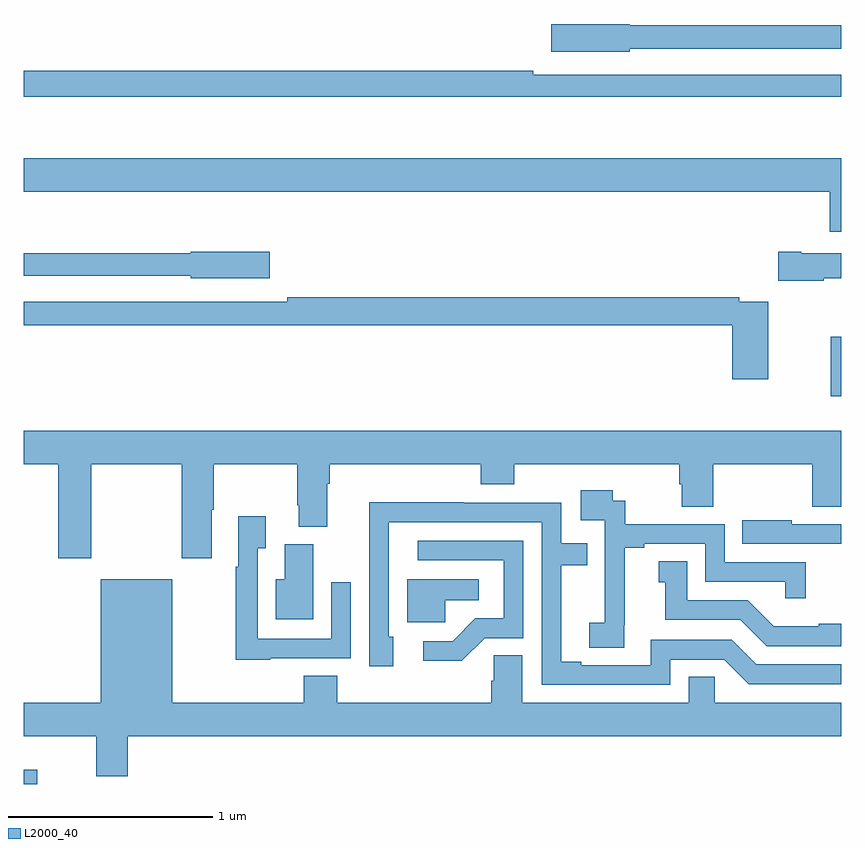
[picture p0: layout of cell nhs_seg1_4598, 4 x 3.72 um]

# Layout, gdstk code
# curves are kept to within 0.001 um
import gdstk
lib = gdstk.Library(unit=1e-6, precision=1e-09)
def R(c, l, rs):  # rectangles x0, y0, x1, y1
    for r in rs: c.add(gdstk.rectangle(r[:2], r[2:], *l))
def P(c, l, *ps):  # polygons
    for p in ps: c.add(gdstk.Polygon(p, *l))
L2000_40 = (2000, 40)

nhs_seg1_4598 = lib.new_cell('nhs_seg1_4598')
R(nhs_seg1_4598, L2000_40, [(361,518.199,361.066,518.269), (364.948,520.097,365,520.387)])
P(nhs_seg1_4598, L2000_40, [(363.966,521.796),(365,521.796),(365,521.912),(363.966,521.912),(363.966,521.918),(363.582,521.918),(363.582,521.783),(363.966,521.783)],
  [(365,521.67),(363.494,521.67),(363.494,521.69),(361,521.69),(361,521.562),(365,521.562)],
  [(365,521.26),(361,521.26),(361,521.096),(364.943,521.096),(364.943,520.902),(365,520.902)],
  [(364.914,520.673),(365,520.673),(365,520.795),(364.804,520.795),(364.804,520.803),(364.692,520.803),(364.692,520.661),(364.914,520.661)],
  [(362.203,520.803),(361.818,520.803),(361.818,520.795),(361,520.795),(361,520.686),(361.818,520.686),(361.818,520.673),(362.203,520.673)],
  [(364.644,520.56),(364.502,520.56),(364.502,520.58),(362.29,520.58),(362.29,520.56),(361,520.56),(361,520.444),(364.466,520.444),(364.466,520.179),(364.644,520.179)],
  [(361.329,519.764),(361.774,519.764),(361.774,519.303),(361.921,519.303),(361.921,519.542),(361.929,519.542),(361.929,519.764),(362.338,519.764),(362.338,519.562),(362.345,519.562),(362.345,519.457),(362.485,519.457),(362.485,519.668),(362.498,519.668),(362.498,519.764),(363.236,519.764),(363.236,519.665),(363.401,519.665),(363.401,519.764),(364.208,519.764),(364.208,519.666),(364.22,519.666),(364.22,519.556),(364.373,519.556),(364.373,519.764),(364.859,519.764),(364.859,519.556),(365,519.556),(365,519.928),(361,519.928),(361,519.764),(361.169,519.764),(361.169,519.303),(361.329,519.303)],
  [(363.938,518.977),(363.94,518.977),(363.94,519.355),(364.036,519.355),(364.036,519.375),(364.335,519.375),(364.335,519.189),(364.725,519.189),(364.725,519.108),(364.826,519.108),(364.826,519.285),(364.431,519.285),(364.431,519.471),(363.944,519.471),(363.944,519.585),(363.882,519.585),(363.882,519.637),(363.726,519.637),(363.726,519.489),(363.843,519.489),(363.843,519.185),(363.842,519.185),(363.842,518.988),(363.768,518.988),(363.768,518.866),(363.938,518.866)],
  [(364.164,518.808),(364.428,518.808),(364.548,518.688),(365,518.688),(365,518.784),(364.584,518.784),(364.464,518.904),(364.068,518.904),(364.068,518.781),(363.727,518.781),(363.727,518.796),(363.631,518.796),(363.631,519.27),(363.758,519.27),(363.758,519.378),(363.63,519.378),(363.63,519.576),(363.152,519.576),(363.152,519.578),(362.69,519.578),(362.691,518.775),(362.809,518.775),(362.809,518.919),(362.787,518.919),(362.787,519.48),(363.534,519.48),(363.534,518.685),(364.164,518.685)],
  [(362.205,518.814),(362.601,518.814),(362.601,519.187),(362.505,519.187),(362.505,518.91),(362.145,518.91),(362.145,519.352),(362.185,519.352),(362.185,519.508),(362.049,519.508),(362.049,519.263),(362.037,519.263),(362.037,518.807),(362.205,518.807)],
  [(365,519.471),(364.759,519.471),(364.759,519.49),(364.516,519.49),(364.516,519.375),(365,519.375)],
  [(363.255,518.913),(363.444,518.913),(363.444,519.39),(362.928,519.39),(362.928,519.294),(363.348,519.294),(363.348,519.009),(363.21,519.009),(363.099,518.898),(362.955,518.898),(362.955,518.801),(363.142,518.801)],
  [(362.416,519.371),(362.276,519.371),(362.276,519.202),(362.234,519.202),(362.234,519.005),(362.416,519.005)],
  [(365,518.983),(364.889,518.983),(364.889,518.971),(364.67,518.971),(364.542,519.099),(364.246,519.099),(364.246,519.29),(364.106,519.29),(364.106,519.187),(364.139,519.187),(364.139,519.003),(364.506,519.003),(364.635,518.874),(365,518.874)],
  [(361.508,518.432),(365,518.432),(365,518.596),(364.38,518.596),(364.38,518.723),(364.253,518.723),(364.253,518.596),(363.439,518.596),(363.439,518.828),(363.3,518.828),(363.3,518.705),(363.287,518.705),(363.287,518.596),(362.534,518.596),(362.534,518.729),(362.369,518.729),(362.369,518.596),(361.726,518.596),(361.726,519.202),(361.376,519.202),(361.376,518.596),(361,518.596),(361,518.432),(361.355,518.432),(361.355,518.238),(361.508,518.238)],
  [(363.063,519.098),(363.226,519.098),(363.226,519.202),(362.876,519.202),(362.876,518.991),(363.063,518.991)])

lib.write_gds('nhs_seg1_4598.gds')
